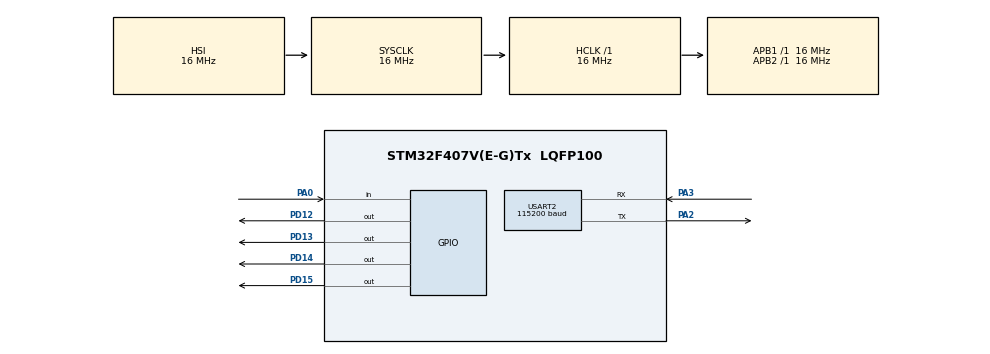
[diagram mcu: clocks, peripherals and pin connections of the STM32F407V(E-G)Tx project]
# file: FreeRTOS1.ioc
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FREERTOS.Mutexes01=uartMutex,Dynamic,NULL
FREERTOS.Tasks01=defaultTask,0,128,Thread1,Default,NULL,Dynamic,NULL,NULL;myTask02,-3,128,Thread2,Default,NULL,Dynamic,NULL,NULL
FREERTOS.configUSE_NEWLIB_REENTRANT=1
Mcu.Family=STM32F4
Mcu.Name=STM32F407V(E-G)Tx
Mcu.Package=LQFP100
NVIC.PriorityGroup=NVIC_PRIORITYGROUP_4
NVIC.TIM3_IRQn=true\:15\:0\:false\:false\:true\:false\:false\:true
NVIC.TimeBase=TIM3_IRQn
NVIC.TimeBaseIP=TIM3
PA0-WKUP.Signal=GPIO_Input
PA2.Mode=Asynchronous
PA2.Signal=USART2_TX
PA3.Mode=Asynchronous
PA3.Signal=USART2_RX
PD12.Signal=GPIO_Output
PD13.Signal=GPIO_Output
PD14.Signal=GPIO_Output
PD15.Signal=GPIO_Output
ProjectManager.HeapSize=0x200
ProjectManager.StackSize=0x400
ProjectManager.TargetToolchain=STM32CubeIDE
RCC.48MHZClocksFreq_Value=32000000
RCC.AHBFreq_Value=16000000
RCC.APB1Freq_Value=16000000
RCC.APB1TimFreq_Value=16000000
RCC.APB2Freq_Value=16000000
RCC.APB2TimFreq_Value=16000000
RCC.CortexFreq_Value=16000000
RCC.HCLKFreq_Value=16000000
RCC.HSE_VALUE=25000000
RCC.HSI_VALUE=16000000
RCC.LSE_VALUE=32768
RCC.PLLM=8
RCC.PLLN=64
RCC.SYSCLKFreq_VALUE=16000000
RCC.VCOOutputFreq_Value=128000000
USART2.BaudRate=115200
USART2.VirtualMode=VM_ASYNC
VP_FREERTOS_VS_CMSIS_V1.Mode=CMSIS_V1
VP_SYS_VS_tim3.Mode=TIM3
board=custom

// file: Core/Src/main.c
/* USER CODE BEGIN Header */
/**
  ******************************************************************************
  * @file           : main.c
  * @brief          : Main program body
  ******************************************************************************
  * @attention
  *
  * <h2><center>&copy; Copyright (c) 2021 STMicroelectronics.
  * All rights reserved.</center></h2>
  *
  * This software component is licensed by ST under BSD 3-Clause license,
  * the "License"; You may not use this file except in compliance with the
  * License. You may obtain a copy of the License at:
  *                        opensource.org/licenses/BSD-3-Clause
  *
  ******************************************************************************
  */
/* USER CODE END Header */
#include "main.h"
#include "cmsis_os.h"

UART_HandleTypeDef huart2;

osThreadId defaultTaskHandle;
osThreadId myTask02Handle;
osMutexId uartMutexHandle;
/* USER CODE BEGIN PV */
osThreadId myTask03Handle;
/* USER CODE END PV */

void SystemClock_Config(void);
static void MX_GPIO_Init(void);
static void MX_USART2_UART_Init(void);
void Thread1(void const * argument);
void Thread2(void const * argument);

/* USER CODE BEGIN PFP */
void Thread3(void const * argument);

/* USER CODE END PFP */

int main(void)
{

  /* MCU Configuration--------------------------------------------------------*/

  /* Reset of all peripherals, Initializes the Flash interface and the Systick. */
  HAL_Init();

  /* Configure the system clock */
  SystemClock_Config();

  /* Initialize all configured peripherals */
  MX_GPIO_Init();
  MX_USART2_UART_Init();

  /* Create the mutex(es) */
  /* definition and creation of uartMutex */
  osMutexDef(uartMutex);
  uartMutexHandle = osMutexCreate(osMutex(uartMutex));

  /* Create the thread(s) */
  /* definition and creation of defaultTask */
  osThreadDef(defaultTask, Thread1, osPriorityNormal, 0, 128);
  defaultTaskHandle = osThreadCreate(osThread(defaultTask), NULL);

  /* definition and creation of myTask02 */
  osThreadDef(myTask02, Thread2, osPriorityIdle, 0, 128);
  myTask02Handle = osThreadCreate(osThread(myTask02), NULL);

  /* USER CODE BEGIN RTOS_THREADS */
  /* add threads, ... */
  //keeping inside BEGIN / END keeps it here even if update .ioc (otherwise deleted)

  //definition and creation of thread3
  osThreadDef(myTask03, Thread3, osPriorityIdle, 0, 128);
  myTask03Handle = osThreadCreate(osThread(myTask03), NULL);

  /* USER CODE END RTOS_THREADS */

  /* Start scheduler */
  osKernelStart();

  /* We should never get here as control is now taken by the scheduler */
  /* Infinite loop */
  while (1)
  {

  }
}

void SystemClock_Config(void)
{
  RCC_OscInitTypeDef RCC_OscInitStruct = {0};
  RCC_ClkInitTypeDef RCC_ClkInitStruct = {0};

  /** Configure the main internal regulator output voltage
  */
  __HAL_RCC_PWR_CLK_ENABLE();
  __HAL_PWR_VOLTAGESCALING_CONFIG(PWR_REGULATOR_VOLTAGE_SCALE1);
  /** Initializes the RCC Oscillators according to the specified parameters
  * in the RCC_OscInitTypeDef structure.
  */
  RCC_OscInitStruct.OscillatorType = RCC_OSCILLATORTYPE_HSI;
  RCC_OscInitStruct.HSIState = RCC_HSI_ON;
  RCC_OscInitStruct.HSICalibrationValue = RCC_HSICALIBRATION_DEFAULT;
  RCC_OscInitStruct.PLL.PLLState = RCC_PLL_NONE;
  if (HAL_RCC_OscConfig(&RCC_OscInitStruct) != HAL_OK)
  {
    Error_Handler();
  }
  /** Initializes the CPU, AHB and APB buses clocks
  */
  RCC_ClkInitStruct.ClockType = RCC_CLOCKTYPE_HCLK|RCC_CLOCKTYPE_SYSCLK
                              |RCC_CLOCKTYPE_PCLK1|RCC_CLOCKTYPE_PCLK2;
  RCC_ClkInitStruct.SYSCLKSource = RCC_SYSCLKSOURCE_HSI;
  RCC_ClkInitStruct.AHBCLKDivider = RCC_SYSCLK_DIV1;
  RCC_ClkInitStruct.APB1CLKDivider = RCC_HCLK_DIV1;
  RCC_ClkInitStruct.APB2CLKDivider = RCC_HCLK_DIV1;

  if (HAL_RCC_ClockConfig(&RCC_ClkInitStruct, FLASH_LATENCY_0) != HAL_OK)
  {
    Error_Handler();
  }
}

static void MX_USART2_UART_Init(void)
{

  huart2.Instance = USART2;
  huart2.Init.BaudRate = 115200;
  huart2.Init.WordLength = UART_WORDLENGTH_8B;
  huart2.Init.StopBits = UART_STOPBITS_1;
  huart2.Init.Parity = UART_PARITY_NONE;
  huart2.Init.Mode = UART_MODE_TX_RX;
  huart2.Init.HwFlowCtl = UART_HWCONTROL_NONE;
  huart2.Init.OverSampling = UART_OVERSAMPLING_16;
  if (HAL_UART_Init(&huart2) != HAL_OK)
  {
    Error_Handler();
  }

}

static void MX_GPIO_Init(void)
{
  GPIO_InitTypeDef GPIO_InitStruct = {0};

  /* GPIO Ports Clock Enable */
  __HAL_RCC_GPIOA_CLK_ENABLE();
  __HAL_RCC_GPIOD_CLK_ENABLE();

  /*Configure GPIO pin Output Level */
  HAL_GPIO_WritePin(GPIOD, GPIO_PIN_12|GPIO_PIN_13|GPIO_PIN_14|GPIO_PIN_15, GPIO_PIN_RESET);

  /*Configure GPIO pin : PA0 */
  GPIO_InitStruct.Pin = GPIO_PIN_0;
  GPIO_InitStruct.Mode = GPIO_MODE_INPUT;
  GPIO_InitStruct.Pull = GPIO_NOPULL;
  HAL_GPIO_Init(GPIOA, &GPIO_InitStruct);

  /*Configure GPIO pins : PD12 PD13 PD14 PD15 */
  GPIO_InitStruct.Pin = GPIO_PIN_12|GPIO_PIN_13|GPIO_PIN_14|GPIO_PIN_15;
  GPIO_InitStruct.Mode = GPIO_MODE_OUTPUT_PP;
  GPIO_InitStruct.Pull = GPIO_NOPULL;
  GPIO_InitStruct.Speed = GPIO_SPEED_FREQ_LOW;
  HAL_GPIO_Init(GPIOD, &GPIO_InitStruct);

}

void Thread1(void const * argument)
{
  /* USER CODE BEGIN 5 */
  uint8_t txData[20] = "Hello from Thread1\r\n"; //UART Data (carriage return), transmit func requres uint8
  /* Infinite loop */
  for(;;)
  {
	//toggle LED and transmit data over UART, continously
	HAL_GPIO_TogglePin(GPIOD, GPIO_PIN_12);
	//Mutex eliminates problem of transmitting same time (uses queues), functions : mutex take + give
	//use take b4 give to uart
	xSemaphoreTake(uartMutexHandle,
				   portMAX_DELAY); //waits indefinitely until UART available

	HAL_UART_Transmit(&huart2,  //handle typedef
					  txData,  	//data
					  20,		//data size
					  5);		//timeout- more time to complete transmission (instead of 1ms)

	xSemaphoreGive(uartMutexHandle); // when done with UART gives to thread2

    osDelay(1000); //1sec delay
  }
  /* USER CODE END 5 */
}

void Thread2(void const * argument)
{
  /* USER CODE BEGIN Thread2 */
  uint8_t txData[20] = "Hello from Thread2\r\n";
  /* Infinite loop */
  for(;;)
  {
	//pushbutton is == reset (0) as its active low - pressed, when pressed shows hello from thread2
	if(HAL_GPIO_ReadPin(GPIOA, GPIO_PIN_0) ==GPIO_PIN_RESET)
	{
		//notify thread 3 to trigger
		xTaskNotify(myTask03Handle, //pass thread3 handle at top
					0x01,			//set up to 8 flags (0x01 = flag 1)
					eSetBits 		//sets the flag (no reset)
					);

		xSemaphoreTake(uartMutexHandle, //adds to queue, as soon as Thread1 available gives UART to thread2
						   portMAX_DELAY);
		HAL_UART_Transmit(&huart2,  //handle typedef
						  txData,  	//data
						  20,		//data size
						  5);		//timeout

		xSemaphoreGive(uartMutexHandle);

		osDelay(400); //400ms between each message (no mutux use)
		//if delay is the same, they both try transmit at the same time, just corrupts entire code
		//elimate problem using mutex
	}
  }
  /* USER CODE END Thread2 */
}

// thread3 I created this
void Thread3(void const * argument)
{
  /* USER CODE BEGIN Thread3 */
  uint8_t txData[20] = "Hello from Thread3\r\n";
  uint32_t notifyValue;
  /* Infinite loop */
  for(;;)
  {
	//notify wait from thread2 and then proceed
	xTaskNotifyWait(pdFALSE,   		// don't reset flag when entering func
					0xFF, 		 	// reset all flags when leave the func
					&notifyValue, 	// value from notification (0x01), define in func
					portMAX_DELAY 	// wait indefinitely for notifier to arrive
					);

	//check if notify value is 0x01
	if( (notifyValue & 0x01) != 0x00 )
	{
		//adds to queue
		xSemaphoreTake(uartMutexHandle,portMAX_DELAY);//when Thread1 available gives UART to thread2

		HAL_UART_Transmit(&huart2,  //handle typedef
						  txData,  	//data
						  20,		//data size
						  5);		//timeout

		xSemaphoreGive(uartMutexHandle);
	}
  }
  /* USER CODE END Thread3 */
}

void HAL_TIM_PeriodElapsedCallback(TIM_HandleTypeDef *htim)
{
  if (htim->Instance == TIM3) {
    HAL_IncTick();
  }
}

void Error_Handler(void)
{
  __disable_irq();
  while (1)
  {
  }
}

/************************ (C) COPYRIGHT STMicroelectronics *****END OF FILE****/
